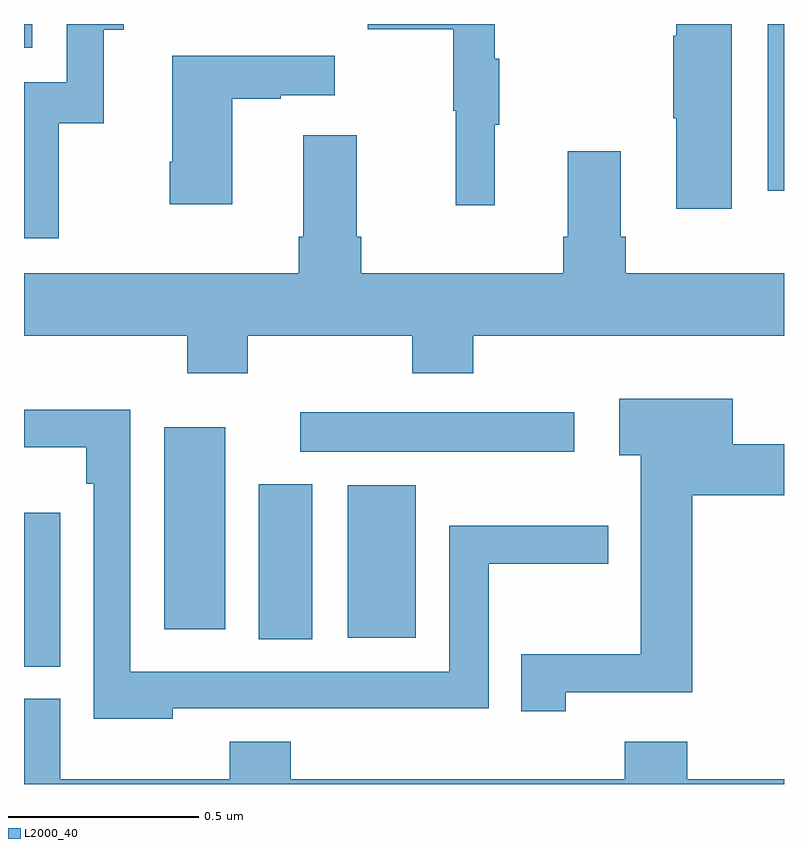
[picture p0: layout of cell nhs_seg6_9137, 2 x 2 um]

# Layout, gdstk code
import gdstk
lib = gdstk.Library(unit=1e-6, precision=1e-09)
def R(c, l, rs):  # rectangles x0, y0, x1, y1
    for r in rs: c.add(gdstk.rectangle(r[:2], r[2:], *l))
def P(c, l, *ps):  # polygons
    for p in ps: c.add(gdstk.Polygon(p, *l))
L2000_40 = (2000, 40)

nhs_seg6_9137 = lib.new_cell('nhs_seg6_9137')
R(nhs_seg6_9137, L2000_40, [(230,935.809,230.095,936.214), (230.618,935.881,230.758,936.289), (230.852,935.885,231.031,936.286), (230.369,935.907,230.53,936.439), (230.727,936.374,231.448,936.478), (231.957,937.061,232,937.5), (230,937.437,230.022,937.5)])
P(nhs_seg6_9137, L2000_40, [(231.239,937.235),(231.25,937.235),(231.25,937.409),(231.239,937.409),(231.239,937.5),(230.905,937.5),(230.905,937.486),(231.129,937.486),(231.129,937.272),(231.136,937.272),(231.136,937.023),(231.239,937.023)],
  [(230.092,937.239),(230.21,937.239),(230.21,937.485),(230.263,937.485),(230.263,937.5),(230.112,937.5),(230.112,937.347),(230,937.347),(230,936.936),(230.092,936.936)],
  [(231.862,937.5),(231.716,937.5),(231.716,937.469),(231.709,937.469),(231.709,937.252),(231.716,937.252),(231.716,937.014),(231.862,937.014)],
  [(230.548,937.303),(230.675,937.303),(230.675,937.313),(230.818,937.313),(230.818,937.417),(230.39,937.417),(230.39,937.138),(230.383,937.138),(230.383,937.026),(230.548,937.026)],
  [(230.589,936.68),(231.022,936.68),(231.022,936.581),(231.182,936.581),(231.182,936.68),(232,936.68),(232,936.844),(231.584,936.844),(231.584,936.94),(231.571,936.94),(231.571,937.165),(231.431,937.165),(231.431,936.94),(231.419,936.94),(231.419,936.844),(230.888,936.844),(230.888,936.94),(230.875,936.94),(230.875,937.207),(230.735,937.207),(230.735,936.94),(230.723,936.94),(230.723,936.844),(230,936.844),(230,936.68),(230.429,936.68),(230.429,936.581),(230.589,936.581)],
  [(231.426,935.741),(231.758,935.741),(231.758,936.26),(232,936.26),(232,936.394),(231.865,936.394),(231.865,936.514),(231.567,936.514),(231.567,936.365),(231.623,936.365),(231.623,935.841),(231.308,935.841),(231.308,935.691),(231.426,935.691)],
  [(230.391,935.7),(230.785,935.7),(230.785,935.699),(231.223,935.699),(231.223,936.079),(231.538,936.079),(231.538,936.179),(231.119,936.179),(231.119,935.796),(230.28,935.796),(230.28,936.485),(230,936.485),(230,936.386),(230.164,936.386),(230.164,936.29),(230.184,936.29),(230.184,935.672),(230.391,935.672)],
  [(232,935.512),(231.746,935.512),(231.746,935.611),(231.581,935.611),(231.581,935.512),(230.702,935.512),(230.702,935.611),(230.542,935.611),(230.542,935.512),(230.095,935.512),(230.095,935.724),(230,935.724),(230,935.5),(232,935.5)])

lib.write_gds('nhs_seg6_9137.gds')
